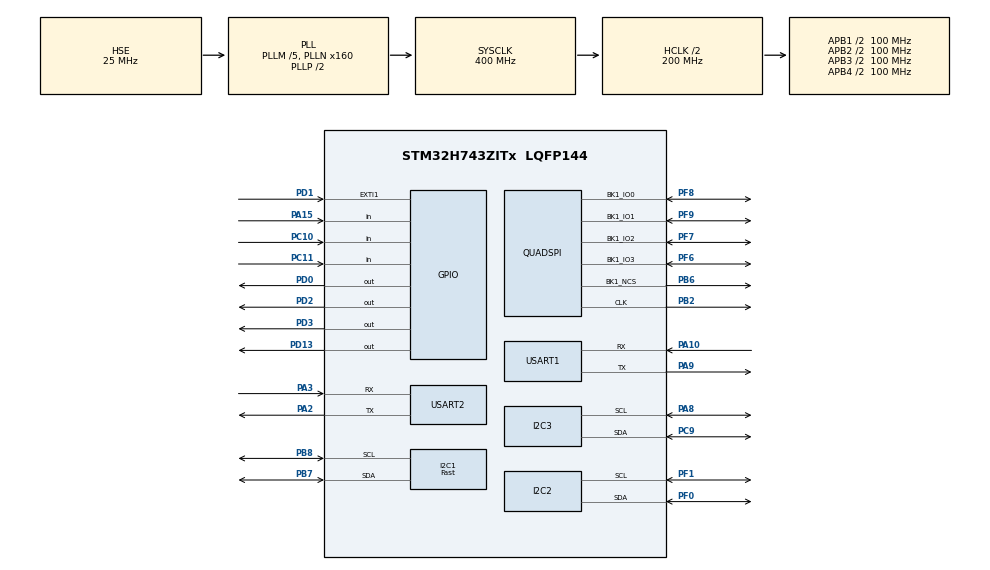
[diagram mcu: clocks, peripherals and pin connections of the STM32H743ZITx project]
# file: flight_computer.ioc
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CORTEX_M7.default_mode_Activation=1
I2C1.I2C_Fall_Time=100
I2C1.I2C_Rise_Time=300
I2C1.I2C_Speed_Mode=I2C_Fast
I2C1.Timing=0x30910D22
I2C2.Timing=0x10C0ECFF
I2C3.Timing=0x10C0ECFF
Mcu.Family=STM32H7
Mcu.Name=STM32H743ZITx
Mcu.Package=LQFP144
NVIC.PriorityGroup=NVIC_PRIORITYGROUP_4
NVIC.USART1_IRQn=true\:0\:0\:false\:false\:true\:true\:true\:true
PA10.Mode=Asynchronous
PA10.Signal=USART1_RX
PA11.Signal=FDCAN1_RX
PA12.Signal=FDCAN1_TX
PA13\ (JTMS/SWDIO).Mode=Serial_Wire
PA13\ (JTMS/SWDIO).Signal=DEBUG_JTMS-SWDIO
PA14\ (JTCK/SWCLK).Mode=Serial_Wire
PA14\ (JTCK/SWCLK).Signal=DEBUG_JTCK-SWCLK
PA15\ (JTDI).Signal=GPIO_Input
PA2.Mode=Asynchronous
PA2.Signal=USART2_TX
PA3.Mode=Asynchronous
PA3.Signal=USART2_RX
PA8.GPIO_Pu=GPIO_PULLUP
PA8.Mode=I2C
PA8.Signal=I2C3_SCL
PA9.Mode=Asynchronous
PA9.Signal=USART1_TX
PB2.GPIO_Speed=GPIO_SPEED_FREQ_HIGH
PB2.Mode=Single Bank 1
PB2.Signal=QUADSPI_CLK
PB6.GPIO_FM6=__NULL
PB6.GPIO_Speed=GPIO_SPEED_FREQ_HIGH
PB6.Mode=Single Bank 1
PB6.Signal=QUADSPI_BK1_NCS
PB7.Mode=I2C
PB7.Signal=I2C1_SDA
PB8.Mode=I2C
PB8.Signal=I2C1_SCL
PC10.Signal=GPIO_Input
PC11.Signal=GPIO_Input
PC14-OSC32_IN\ (OSC32_IN).Mode=LSE-External-Clock-Source
PC14-OSC32_IN\ (OSC32_IN).Signal=RCC_OSC32_IN
PC9.GPIO_Pu=GPIO_PULLUP
PC9.Mode=I2C
PC9.Signal=I2C3_SDA
PD0.Signal=GPIO_Output
PD1.Signal=GPXTI1
PD13.Signal=GPIO_Output
PD2.Signal=GPIO_Output
PD3.Signal=GPIO_Output
PF0.GPIO_Pu=GPIO_PULLUP
PF0.Mode=I2C
PF0.Signal=I2C2_SDA
PF1.GPIO_Pu=GPIO_PULLUP
PF1.Mode=I2C
PF1.Signal=I2C2_SCL
PF6.GPIO_Speed=GPIO_SPEED_FREQ_HIGH
PF6.Mode=Single Bank 1
PF6.Signal=QUADSPI_BK1_IO3
PF7.GPIO_Speed=GPIO_SPEED_FREQ_HIGH
PF7.Mode=Single Bank 1
PF7.Signal=QUADSPI_BK1_IO2
PF8.GPIO_Speed=GPIO_SPEED_FREQ_HIGH
PF8.Mode=Single Bank 1
PF8.Signal=QUADSPI_BK1_IO0
PF9.GPIO_Speed=GPIO_SPEED_FREQ_HIGH
PF9.Mode=Single Bank 1
PF9.Signal=QUADSPI_BK1_IO1
PH0-OSC_IN\ (PH0).Mode=HSE-External-Clock-Source
PH0-OSC_IN\ (PH0).Signal=RCC_OSC_IN
ProjectManager.HeapSize=0x200
ProjectManager.StackSize=0x400
ProjectManager.TargetToolchain=STM32CubeIDE
QUADSPI.ChipSelectHighTime=QSPI_CS_HIGH_TIME_2_CYCLE
QUADSPI.ClockPrescaler=19
QUADSPI.FifoThreshold=4
QUADSPI.FlashSize=23
QUADSPI.SampleShifting=QSPI_SAMPLE_SHIFTING_NONE
RCC.ADCFreq_Value=537500000
RCC.APB1Freq_Value=100000000
RCC.APB2Freq_Value=100000000
RCC.APB3Freq_Value=100000000
RCC.APB4Freq_Value=100000000
RCC.CortexFreq_Value=400000000
RCC.D1PPRE=RCC_APB3_DIV2
RCC.D2PPRE1=RCC_APB1_DIV2
RCC.D2PPRE2=RCC_APB2_DIV2
RCC.D3PPRE=RCC_APB4_DIV2
RCC.DIVM1=5
RCC.DIVM2=3
RCC.DIVM3=5
RCC.DIVN1=160
RCC.DIVQ1=4
RCC.DIVQ2=3
RCC.FDCANCLockSelection=RCC_FDCANCLKSOURCE_HSE
RCC.HCLKFreq_Value=200000000
RCC.HPRE=RCC_HCLK_DIV2
RCC.PLLFRACN=0
RCC.PLLSourceVirtual=RCC_PLLSOURCE_HSE
RCC.PWR_Regulator_Voltage_Scale=PWR_REGULATOR_VOLTAGE_SCALE1
RCC.RTCClockSelection=RCC_RTCCLKSOURCE_LSE
RCC.SYSCLKFreq_VALUE=400000000
RCC.SYSCLKSource=RCC_SYSCLKSOURCE_PLLCLK
RCC.USBFreq_Value=200000000
USART1.VirtualMode-Asynchronous=VM_ASYNC
USART2.VirtualMode-Asynchronous=VM_ASYNC
VP_MEMORYMAP_VS_MEMORYMAP.Mode=CurAppReg
VP_RTC_VS_RTC_Activate.Mode=RTC_Enabled
VP_RTC_VS_RTC_Calendar.Mode=RTC_Calendar
board=custom

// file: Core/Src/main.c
/* USER CODE BEGIN Header */
/**
  ******************************************************************************
  * @file           : main.c
  * @brief          : Main program body
  ******************************************************************************
  * @attention
  *
  * Copyright (c) 2026 STMicroelectronics.
  * All rights reserved.
  *
  * This software is licensed under terms that can be found in the LICENSE file
  * in the root directory of this software component.
  * If no LICENSE file comes with this software, it is provided AS-IS.
  *
  ******************************************************************************
  */
/* USER CODE END Header */
#include "main.h"

/* USER CODE BEGIN Includes */
#include "commands.h"
#include <stdio.h>
#include "imu.h"
#include "ms5611.h"
#include "mag.h"
#include "flash.h"
#include "logger.h"
#include "sensors.h"
#include "ground_calibration.h"
#include "flight_app.h"
#include <stdbool.h>
#include <math.h>
#include <string.h>

/* USER CODE END Includes */

I2C_HandleTypeDef hi2c1;
I2C_HandleTypeDef hi2c2;
I2C_HandleTypeDef hi2c3;

QSPI_HandleTypeDef hqspi;

RTC_HandleTypeDef hrtc;

UART_HandleTypeDef huart1;
UART_HandleTypeDef huart2;

/* USER CODE BEGIN PV */

#define COMMAND_BUFFER_SIZE 64U
#define RTC_INIT_MARKER  0xA5A55A5AU // Arbitrary value for a flag
#define RTC_FLIGHT_LOCK_MARKER 0x464C544CUL /* "FLTL" */

static uint8_t uart_rx_byte;
static char command_buffer[COMMAND_BUFFER_SIZE];
static volatile uint32_t command_index = 0U;
static volatile uint8_t command_ready = 0U;

#define IMU_POLL_INTERVAL_MS 10U
#define BAROMETER_POLL_INTERVAL_MS 2U
#define IMU_PAIR_MAX_SKEW_MS 25U
#define BAROMETER_LOG_MAX_AGE_MS 100U
#define SENSOR_REINIT_INTERVAL_MS 1000U
#define IMU_NO_DATA_TIMEOUT_MS 500U
#define BAROMETER_NO_DATA_TIMEOUT_MS 500U

static ImuSample_t latest_imu_sample;
static ImuSample_t pending_imu_pair;
static MS5611_Sample_t latest_baro_sample;
static float latest_altitude_agl_m = NAN;
static bool latest_imu_sample_valid = false;
static bool latest_baro_sample_valid = false;
static bool latest_altitude_valid = false;
static bool imu_available = false;
static bool barometer_available = false;
static uint8_t pending_imu_fresh_mask = 0U;
static uint32_t pending_accel_timestamp_ms = 0U;
static uint32_t pending_gyro_timestamp_ms = 0U;
static uint32_t last_imu_pair_timestamp_ms = 0U;
static bool have_last_imu_pair = false;
static uint32_t last_baro_sample_timestamp_ms = 0U;
static bool have_last_baro_sample = false;

static volatile uint8_t calibration_restart_requested = 0U;
static volatile uint8_t calibration_abort_requested = 0U;
static bool ground_mode_confirmed = false;

#define FLASH_ENABLE_SELF_TEST 0U

bool flash_available = false;
bool logger_available = false;

/* USER CODE END PV */

void SystemClock_Config(void);
static void MPU_Config(void);
static void MX_GPIO_Init(void);
static void MX_I2C1_Init(void);
static void MX_I2C2_Init(void);
static void MX_I2C3_Init(void);
static void MX_QUADSPI_Init(void);
static void MX_USART1_UART_Init(void);
static void MX_USART2_UART_Init(void);
static void MX_RTC_Init(void);

/* USER CODE BEGIN 0 */

// 				DEBUGGING FUNCTIONS
//---------------------------------------------------------

// Redirect printf to UART1
int __io_putchar(int ch)
{
  HAL_UART_Transmit(&huart1, (uint8_t *)&ch, 1, HAL_MAX_DELAY);
  return ch;
}

/* USER CODE END 0 */

int main(void)
{

  /* MPU Configuration--------------------------------------------------------*/
  MPU_Config();

  /* MCU Configuration--------------------------------------------------------*/

  /* Reset of all peripherals, Initializes the Flash interface and the Systick. */
  HAL_Init();

  /* USER CODE BEGIN Init */

  reset_cause_capture(); // Check RCC flags for reasons for reset

  /* USER CODE END Init */

  /* Configure the system clock */
  SystemClock_Config();

  /* Initialize all configured peripherals */
  MX_GPIO_Init();
  MX_I2C1_Init();
  MX_I2C2_Init();
  MX_I2C3_Init();
  MX_QUADSPI_Init();
  MX_USART1_UART_Init();
  MX_USART2_UART_Init();
  MX_RTC_Init();
  /* USER CODE BEGIN 2 */

  /*
   * Disable stdout buffering so printf output is sent to UART1 immediately.
   */
  setvbuf(stdout, NULL, _IONBF, 0);

  // Accelerometer + Gyroscope
  imu_available = (lsm6dso32x_init() == HAL_OK);
  sensor_health_set_initialized(SENSOR_ID_IMU, imu_available);

  if (!imu_available)
  {
    printf("[MAIN] IMU initialization failed.\r\n");
  }

  // Magnetometer
//  printf("\r\nInitializing magnetometer\r\n");
//  iis2mdctr_init();
//  printf("Returned from magnetometer initialization\r\n");

  // Barometer
  barometer_available = (MS5611_Init(&hi2c2) == HAL_OK);
  sensor_health_set_initialized(SENSOR_ID_BAROMETER, barometer_available);

  if (!barometer_available)
  {
    printf("[MAIN] Barometer initialization or PROM CRC check failed.\r\n");
  }

  /* Magnetometer is intentionally optional until its application path is enabled. */
  sensor_health_set_initialized(SENSOR_ID_MAGNETOMETER, false);

  // Flash
  flash_logger_init();

  uint32_t last_imu_poll_tick = HAL_GetTick();
  uint32_t last_baro_poll_tick = HAL_GetTick();
  uint32_t last_imu_activity_tick = last_imu_poll_tick;
  uint32_t last_baro_activity_tick = last_baro_poll_tick;
  uint32_t last_imu_reinit_attempt_tick = last_imu_poll_tick;
  uint32_t last_baro_reinit_attempt_tick = last_baro_poll_tick;

  /*
   * Ground confirmation is deliberately boot-local and single-use. Never
   * infer that the vehicle is still on the ground from state saved before a
   * reset; an in-flight reset must come up calibration-locked.
   */
  ground_mode_confirmed = false;
  printf("[CAL] Recalibration inhibited after reset.\r\n");
  printf("[CAL] When safely stationary on the ground, use 'ground_confirm'.\r\n");

  printf("\r\nMini Flight Computer Console\r\n");
  printf("Type 'help' for available commands.\r\n");
  printf("> ");

  HAL_UART_Receive_IT(&huart1, &uart_rx_byte, 1U);

  /* USER CODE END 2 */

  /* Infinite loop */
  /* USER CODE BEGIN WHILE */
  while (1)
  {
      uint32_t now_ms = HAL_GetTick();
      bool fresh_paired_imu = false;
      bool required_sensor_recovered = false;
      ImuSample_t imu_sample_for_log = {0};

      if (command_ready != 0U)
      {
          command_process(command_buffer);
          command_ready = 0U;
          printf("> ");
      }

      if (calibration_abort_requested != 0U)
      {
          calibration_abort_requested = 0U;
          ground_calibration_abort();
      }

      if (calibration_restart_requested != 0U)
      {
          calibration_restart_requested = 0U;

          if (!ground_mode_confirmed)
          {
              printf("[CAL] Restart rejected: ground mode is not confirmed.\r\n");
          }
          else if (logger_is_active())
          {
              printf("[CAL] Stop logging before restarting calibration.\r\n");
          }
          else if (!imu_available)
          {
              ground_calibration_fault(GROUND_CALIBRATION_FAILURE_IMU_ERROR);
          }
          else if (!barometer_available)
          {
              ground_calibration_fault(GROUND_CALIBRATION_FAILURE_BARO_ERROR);
          }
          else
          {
              latest_altitude_valid = false;
              latest_altitude_agl_m = NAN;
              ground_calibration_restart(now_ms);
              printf("[CAL] Ground calibration restarted. Keep vehicle still.\r\n");
          }
      }

      if (!imu_available &&
          ((now_ms - last_imu_reinit_attempt_tick) >=
           SENSOR_REINIT_INTERVAL_MS))
      {
          last_imu_reinit_attempt_tick = now_ms;

          if (lsm6dso32x_init() == HAL_OK)
          {
              imu_available = true;
              latest_imu_sample_valid = false;
              pending_imu_fresh_mask = 0U;
              pending_accel_timestamp_ms = 0U;
              pending_gyro_timestamp_ms = 0U;
              have_last_imu_pair = false;
              sensor_health_set_initialized(SENSOR_ID_IMU, true);
              last_imu_activity_tick = HAL_GetTick();
              last_imu_poll_tick = last_imu_activity_tick;
              required_sensor_recovered = true;
              printf("[MAIN] IMU reinitialized.\r\n");
          }
      }

      if (!barometer_available &&
          ((now_ms - last_baro_reinit_attempt_tick) >=
           SENSOR_REINIT_INTERVAL_MS))
      {
          last_baro_reinit_attempt_tick = now_ms;

          if (MS5611_Init(&hi2c2) == HAL_OK)
          {
              barometer_available = true;
              latest_baro_sample_valid = false;
              latest_altitude_valid = false;
              latest_altitude_agl_m = NAN;
              sensor_health_set_initialized(SENSOR_ID_BAROMETER, true);
              have_last_baro_sample = false;
              last_baro_activity_tick = HAL_GetTick();
              last_baro_poll_tick = last_baro_activity_tick;
              required_sensor_recovered = true;
              printf("[MAIN] Barometer reinitialized.\r\n");
          }
      }

      now_ms = HAL_GetTick();

      if (required_sensor_recovered &&
          imu_available &&
          barometer_available &&
          ground_mode_confirmed &&
          !logger_is_active() &&
          (ground_calibration_get_state() == GROUND_CALIBRATION_FAULT) &&
          ((ground_calibration_get_failure() ==
            GROUND_CALIBRATION_FAILURE_IMU_ERROR) ||
           (ground_calibration_get_failure() ==
            GROUND_CALIBRATION_FAILURE_BARO_ERROR)))
      {
          ground_calibration_restart(now_ms);
          printf("[CAL] Required sensors recovered; calibration restarted.\r\n");
      }

      ground_calibration_update(now_ms);

      if (imu_available &&
          ((now_ms - last_imu_poll_tick) >= IMU_POLL_INTERVAL_MS))
      {
          ImuSample_t sensor_sample;
          ImuSample_t sample;
          ImuPollStatus_t poll_status;

          /* Skip missed periods instead of issuing catch-up bursts. */
          last_imu_poll_tick = now_ms;
          poll_status = lsm6dso32x_poll(&sensor_sample);

          if (poll_status == IMU_POLL_NEW_DATA)
          {
              /* Calibration, health, commands, and logs all use body axes. */
              imu_transform_sensor_to_body(&sensor_sample, &sample);
              latest_imu_sample = sample;
              latest_imu_sample_valid = true;

              /*
               * Accel and gyro DRDY bits are not required to assert in the
               * same poll. The driver preserves the latest counterpart, so
               * publish only after both have advanced within one nominal
               * 52-Hz sample period.
               */
              pending_imu_pair = sample;

              if ((sample.fresh_mask & IMU_SAMPLE_ACCEL_FRESH) != 0U)
              {
                  pending_accel_timestamp_ms = sample.timestamp_ms;
                  pending_imu_fresh_mask |= IMU_SAMPLE_ACCEL_FRESH;
              }

              if ((sample.fresh_mask & IMU_SAMPLE_GYRO_FRESH) != 0U)
              {
                  pending_gyro_timestamp_ms = sample.timestamp_ms;
                  pending_imu_fresh_mask |= IMU_SAMPLE_GYRO_FRESH;
              }

              if ((pending_imu_fresh_mask &
                   (IMU_SAMPLE_ACCEL_FRESH | IMU_SAMPLE_GYRO_FRESH)) ==
                  (IMU_SAMPLE_ACCEL_FRESH | IMU_SAMPLE_GYRO_FRESH))
              {
                  int32_t signed_skew =
                      (int32_t)(pending_accel_timestamp_ms -
                                pending_gyro_timestamp_ms);
                  uint32_t pair_skew_ms = (signed_skew >= 0)
                                              ? (uint32_t)signed_skew
                                              : (pending_gyro_timestamp_ms -
                                                 pending_accel_timestamp_ms);

                  if (pair_skew_ms > IMU_PAIR_MAX_SKEW_MS)
                  {
                      GroundCalibrationState_t calibration_state =
                          ground_calibration_get_state();

                      sensor_health_record_failure(SENSOR_ID_IMU);

                      if (calibration_state ==
                          GROUND_CALIBRATION_CALIBRATING)
                      {
                          ground_calibration_process_imu(NULL);
                      }

                      /* Retain only the newer half for the next pairing. */
                      if (signed_skew > 0)
                      {
                          pending_imu_fresh_mask = IMU_SAMPLE_ACCEL_FRESH;
                          pending_gyro_timestamp_ms = 0U;
                      }
                      else
                      {
                          pending_imu_fresh_mask = IMU_SAMPLE_GYRO_FRESH;
                          pending_accel_timestamp_ms = 0U;
                      }
                  }
                  else
                  {
                      bool cadence_valid =
                          !have_last_imu_pair ||
                          ((pending_imu_pair.timestamp_ms -
                            last_imu_pair_timestamp_ms) <=
                           GROUND_CALIBRATION_MAX_IMU_GAP_MS);

                      pending_imu_pair.fresh_mask =
                          IMU_SAMPLE_ACCEL_FRESH | IMU_SAMPLE_GYRO_FRESH;
                      pending_imu_pair.timestamp_ms =
                          (signed_skew >= 0)
                              ? pending_accel_timestamp_ms
                              : pending_gyro_timestamp_ms;

                      if (cadence_valid)
                      {
                          sensor_health_record_success(
                              SENSOR_ID_IMU,
                              pending_imu_pair.timestamp_ms);
                          last_imu_activity_tick =
                              pending_imu_pair.timestamp_ms;
                      }
                      else
                      {
                          sensor_health_record_failure(SENSOR_ID_IMU);

                          if (ground_calibration_get_state() ==
                              GROUND_CALIBRATION_CALIBRATING)
                          {
                              ground_calibration_process_imu(NULL);
                          }
                      }

                      last_imu_pair_timestamp_ms =
                          pending_imu_pair.timestamp_ms;
                      have_last_imu_pair = true;
                      ground_calibration_process_imu(&pending_imu_pair);
                      imu_sample_for_log = pending_imu_pair;
                      fresh_paired_imu = true;
                      pending_imu_fresh_mask = 0U;
                      pending_accel_timestamp_ms = 0U;
                      pending_gyro_timestamp_ms = 0U;
                  }
              }
          }
          else if (poll_status == IMU_POLL_ERROR)
          {
              SensorHealth_t health;
              GroundCalibrationState_t calibration_state =
                  ground_calibration_get_state();

              sensor_health_record_failure(SENSOR_ID_IMU);
              pending_imu_fresh_mask = 0U;
              pending_accel_timestamp_ms = 0U;
              pending_gyro_timestamp_ms = 0U;
              health = sensor_health_get(SENSOR_ID_IMU);

              if (calibration_state == GROUND_CALIBRATION_CALIBRATING)
              {
                  /* A missing frame invalidates the contiguous sample window. */
                  ground_calibration_process_imu(NULL);
              }

              if (health.consecutive_failures >= 3U)
              {
                  imu_available = false;
                  latest_imu_sample_valid = false;
                  have_last_imu_pair = false;
                  sensor_health_set_initialized(SENSOR_ID_IMU, false);
                  last_imu_reinit_attempt_tick = HAL_GetTick();
                  printf("[MAIN] IMU offline; periodic reinitialization enabled.\r\n");

                  if ((calibration_state == GROUND_CALIBRATION_WARMUP) ||
                      (calibration_state == GROUND_CALIBRATION_CALIBRATING) ||
                      (ground_mode_confirmed &&
                       (calibration_state == GROUND_CALIBRATION_READY)))
                  {
                      ground_calibration_fault(
                          GROUND_CALIBRATION_FAILURE_IMU_ERROR);
                  }
              }
          }
      }

      if (barometer_available &&
          ((now_ms - last_baro_poll_tick) >= BAROMETER_POLL_INTERVAL_MS))
      {
          MS5611_Sample_t sample;
          MS5611_PollStatus_t poll_status;

          last_baro_poll_tick = now_ms;
          poll_status = MS5611_Poll(&hi2c2, &sample);

          if (poll_status == MS5611_POLL_NEW_DATA)
          {
              bool cadence_valid =
                  !have_last_baro_sample ||
                  ((sample.timestamp_ms - last_baro_sample_timestamp_ms) <=
                   GROUND_CALIBRATION_MAX_BARO_GAP_MS);

              latest_baro_sample = sample;
              latest_baro_sample_valid = true;

              if (cadence_valid)
              {
                  sensor_health_record_success(
                      SENSOR_ID_BAROMETER,
                      sample.timestamp_ms);
                  last_baro_activity_tick = sample.timestamp_ms;
              }
              else
              {
                  sensor_health_record_failure(SENSOR_ID_BAROMETER);
              }

              last_baro_sample_timestamp_ms = sample.timestamp_ms;
              have_last_baro_sample = true;
              ground_calibration_process_baro(&sample);

              latest_altitude_valid = ground_calibration_altitude_agl_m(
                  sample.pressure_pa,
                  &latest_altitude_agl_m);

              if (!latest_altitude_valid)
              {
                  latest_altitude_agl_m = NAN;
              }
          }
          else if (poll_status == MS5611_POLL_ERROR)
          {
              SensorHealth_t health;
              GroundCalibrationState_t calibration_state =
                  ground_calibration_get_state();

              sensor_health_record_failure(SENSOR_ID_BAROMETER);
              latest_baro_sample_valid = false;
              latest_altitude_valid = false;
              latest_altitude_agl_m = NAN;
              health = sensor_health_get(SENSOR_ID_BAROMETER);

              if (calibration_state == GROUND_CALIBRATION_CALIBRATING)
              {
                  ground_calibration_process_baro(NULL);
              }

              if (health.consecutive_failures >= 3U)
              {
                  barometer_available = false;
                  have_last_baro_sample = false;
                  sensor_health_set_initialized(SENSOR_ID_BAROMETER, false);
                  last_baro_reinit_attempt_tick = HAL_GetTick();
                  printf("[MAIN] Barometer offline; periodic reinitialization enabled.\r\n");

                  if ((calibration_state == GROUND_CALIBRATION_WARMUP) ||
                      (calibration_state == GROUND_CALIBRATION_CALIBRATING) ||
                      (ground_mode_confirmed &&
                       (calibration_state == GROUND_CALIBRATION_READY)))
                  {
                      ground_calibration_fault(
                          GROUND_CALIBRATION_FAILURE_BARO_ERROR);
                  }
              }
          }
      }

      if (imu_available &&
          ((HAL_GetTick() - last_imu_activity_tick) >
           IMU_NO_DATA_TIMEOUT_MS))
      {
          GroundCalibrationState_t calibration_state =
              ground_calibration_get_state();

          imu_available = false;
          latest_imu_sample_valid = false;
          pending_imu_fresh_mask = 0U;
          pending_accel_timestamp_ms = 0U;
          pending_gyro_timestamp_ms = 0U;
          have_last_imu_pair = false;
          sensor_health_set_initialized(SENSOR_ID_IMU, false);
          last_imu_reinit_attempt_tick = HAL_GetTick();
          printf("[MAIN] IMU data timeout; periodic reinitialization enabled.\r\n");

          if ((calibration_state == GROUND_CALIBRATION_WARMUP) ||
              (calibration_state == GROUND_CALIBRATION_CALIBRATING) ||
              (ground_mode_confirmed &&
               (calibration_state == GROUND_CALIBRATION_READY)))
          {
              ground_calibration_fault(GROUND_CALIBRATION_FAILURE_IMU_ERROR);
          }
      }

      if (barometer_available &&
          ((HAL_GetTick() - last_baro_activity_tick) >
           BAROMETER_NO_DATA_TIMEOUT_MS))
      {
          GroundCalibrationState_t calibration_state =
              ground_calibration_get_state();

          barometer_available = false;
          have_last_baro_sample = false;
          latest_baro_sample_valid = false;
          latest_altitude_valid = false;
          latest_altitude_agl_m = NAN;
          sensor_health_set_initialized(SENSOR_ID_BAROMETER, false);
          last_baro_reinit_attempt_tick = HAL_GetTick();
          printf("[MAIN] Barometer data timeout; periodic reinitialization enabled.\r\n");

          if ((calibration_state == GROUND_CALIBRATION_WARMUP) ||
              (calibration_state == GROUND_CALIBRATION_CALIBRATING) ||
              (ground_mode_confirmed &&
               (calibration_state == GROUND_CALIBRATION_READY)))
          {
              ground_calibration_fault(GROUND_CALIBRATION_FAILURE_BARO_ERROR);
          }
      }

      if (ground_mode_confirmed && ground_calibration_is_ready())
      {
          /* A confirmation authorizes one completed calibration only. */
          flight_lock_ground_calibration();
          printf("[CAL] Calibration READY; ground confirmation consumed.\r\n");
      }

      /* Calibration can complete on an IMU frame between barometer frames. */
      if (!latest_altitude_valid &&
          latest_baro_sample_valid &&
          ground_calibration_is_ready())
      {
          latest_altitude_valid = ground_calibration_altitude_agl_m(
              latest_baro_sample.pressure_pa,
              &latest_altitude_agl_m);
      }

      /* Do not carry an old pressure/AGL value into a newer IMU log frame. */
      if (latest_baro_sample_valid &&
          ((HAL_GetTick() - latest_baro_sample.timestamp_ms) >
           BAROMETER_LOG_MAX_AGE_MS))
      {
          latest_baro_sample_valid = false;
          latest_altitude_valid = false;
          latest_altitude_agl_m = NAN;
      }

      /* Check required sources before appending a record from this frame. */
      if (logger_is_active() &&
          (!imu_is_healthy() ||
           !barometer_is_healthy() ||
           !latest_baro_sample_valid ||
           !latest_altitude_valid))
      {
          printf("[MAIN] Required sensor data became invalid; logging stopped.\r\n");
          (void)logger_stop();
      }

      if (fresh_paired_imu && logger_available && logger_is_active())
      {
          FlightLogRecord_t record = {0};
          float corrected_gyro_dps[3];

          ground_calibration_correct_gyro(
              imu_sample_for_log.angular_rate_dps,
              corrected_gyro_dps);

          record.timestamp_ms = imu_sample_for_log.timestamp_ms;
          record.barometer_timestamp_ms = latest_baro_sample.timestamp_ms;
          record.validity_flags = FLIGHT_LOG_VALID_IMU |
                                  FLIGHT_LOG_VALID_BAROMETER |
                                  FLIGHT_LOG_VALID_ALTITUDE_AGL |
                                  FLIGHT_LOG_GYRO_BIAS_CORRECTED;
          record.acceleration_x = imu_sample_for_log.acceleration_mg[0];
          record.acceleration_y = imu_sample_for_log.acceleration_mg[1];
          record.acceleration_z = imu_sample_for_log.acceleration_mg[2];
          record.angular_rate_x = corrected_gyro_dps[0];
          record.angular_rate_y = corrected_gyro_dps[1];
          record.angular_rate_z = corrected_gyro_dps[2];

          record.pressure_pa = latest_baro_sample.pressure_pa;
          record.temperature_c = latest_baro_sample.temperature_c;
          record.altitude_m = latest_altitude_agl_m;

          if (logger_append(&record) != HAL_OK)
          {
              printf(
                  "[MAIN] Failed to store log record. "
                  "Logging will be stopped.\r\n"
              );

              (void)logger_stop();
          }
      }

    /* USER CODE END WHILE */

  }
}

void SystemClock_Config(void)
{
  RCC_OscInitTypeDef RCC_OscInitStruct = {0};
  RCC_ClkInitTypeDef RCC_ClkInitStruct = {0};

  /** Supply configuration update enable
  */
  HAL_PWREx_ConfigSupply(PWR_LDO_SUPPLY);

  /** Configure the main internal regulator output voltage
  */
  __HAL_PWR_VOLTAGESCALING_CONFIG(PWR_REGULATOR_VOLTAGE_SCALE1);

  while(!__HAL_PWR_GET_FLAG(PWR_FLAG_VOSRDY)) {}

  /** Initializes the RCC Oscillators according to the specified parameters
  * in the RCC_OscInitTypeDef structure.
  */
  RCC_OscInitStruct.OscillatorType = RCC_OSCILLATORTYPE_HSE|RCC_OSCILLATORTYPE_LSE;
  RCC_OscInitStruct.HSEState = RCC_HSE_BYPASS;
  RCC_OscInitStruct.LSEState = RCC_LSE_BYPASS;
  RCC_OscInitStruct.PLL.PLLState = RCC_PLL_ON;
  RCC_OscInitStruct.PLL.PLLSource = RCC_PLLSOURCE_HSE;
  RCC_OscInitStruct.PLL.PLLM = 5;
  RCC_OscInitStruct.PLL.PLLN = 160;
  RCC_OscInitStruct.PLL.PLLP = 2;
  RCC_OscInitStruct.PLL.PLLQ = 4;
  RCC_OscInitStruct.PLL.PLLR = 2;
  RCC_OscInitStruct.PLL.PLLRGE = RCC_PLL1VCIRANGE_2;
  RCC_OscInitStruct.PLL.PLLVCOSEL = RCC_PLL1VCOWIDE;
  RCC_OscInitStruct.PLL.PLLFRACN = 0;
  if (HAL_RCC_OscConfig(&RCC_OscInitStruct) != HAL_OK)
  {
    Error_Handler();
  }

  /** Initializes the CPU, AHB and APB buses clocks
  */
  RCC_ClkInitStruct.ClockType = RCC_CLOCKTYPE_HCLK|RCC_CLOCKTYPE_SYSCLK
                              |RCC_CLOCKTYPE_PCLK1|RCC_CLOCKTYPE_PCLK2
                              |RCC_CLOCKTYPE_D3PCLK1|RCC_CLOCKTYPE_D1PCLK1;
  RCC_ClkInitStruct.SYSCLKSource = RCC_SYSCLKSOURCE_PLLCLK;
  RCC_ClkInitStruct.SYSCLKDivider = RCC_SYSCLK_DIV1;
  RCC_ClkInitStruct.AHBCLKDivider = RCC_HCLK_DIV2;
  RCC_ClkInitStruct.APB3CLKDivider = RCC_APB3_DIV2;
  RCC_ClkInitStruct.APB1CLKDivider = RCC_APB1_DIV2;
  RCC_ClkInitStruct.APB2CLKDivider = RCC_APB2_DIV2;
  RCC_ClkInitStruct.APB4CLKDivider = RCC_APB4_DIV2;

  if (HAL_RCC_ClockConfig(&RCC_ClkInitStruct, FLASH_LATENCY_2) != HAL_OK)
  {
    Error_Handler();
  }
}

static void MX_I2C1_Init(void)
{

  hi2c1.Instance = I2C1;
  hi2c1.Init.Timing = 0x30910D22;
  hi2c1.Init.OwnAddress1 = 0;
  hi2c1.Init.AddressingMode = I2C_ADDRESSINGMODE_7BIT;
  hi2c1.Init.DualAddressMode = I2C_DUALADDRESS_DISABLE;
  hi2c1.Init.OwnAddress2 = 0;
  hi2c1.Init.OwnAddress2Masks = I2C_OA2_NOMASK;
  hi2c1.Init.GeneralCallMode = I2C_GENERALCALL_DISABLE;
  hi2c1.Init.NoStretchMode = I2C_NOSTRETCH_DISABLE;
  if (HAL_I2C_Init(&hi2c1) != HAL_OK)
  {
    Error_Handler();
  }

  /** Configure Analogue filter
  */
  if (HAL_I2CEx_ConfigAnalogFilter(&hi2c1, I2C_ANALOGFILTER_ENABLE) != HAL_OK)
  {
    Error_Handler();
  }

  /** Configure Digital filter
  */
  if (HAL_I2CEx_ConfigDigitalFilter(&hi2c1, 0) != HAL_OK)
  {
    Error_Handler();
  }

}

static void MX_I2C2_Init(void)
{

  hi2c2.Instance = I2C2;
  hi2c2.Init.Timing = 0x10C0ECFF;
  hi2c2.Init.OwnAddress1 = 0;
  hi2c2.Init.AddressingMode = I2C_ADDRESSINGMODE_7BIT;
  hi2c2.Init.DualAddressMode = I2C_DUALADDRESS_DISABLE;
  hi2c2.Init.OwnAddress2 = 0;
  hi2c2.Init.OwnAddress2Masks = I2C_OA2_NOMASK;
  hi2c2.Init.GeneralCallMode = I2C_GENERALCALL_DISABLE;
  hi2c2.Init.NoStretchMode = I2C_NOSTRETCH_DISABLE;
  if (HAL_I2C_Init(&hi2c2) != HAL_OK)
  {
    Error_Handler();
  }

  /** Configure Analogue filter
  */
  if (HAL_I2CEx_ConfigAnalogFilter(&hi2c2, I2C_ANALOGFILTER_ENABLE) != HAL_OK)
  {
    Error_Handler();
  }

  /** Configure Digital filter
  */
  if (HAL_I2CEx_ConfigDigitalFilter(&hi2c2, 0) != HAL_OK)
  {
    Error_Handler();
  }

}

static void MX_I2C3_Init(void)
{

  hi2c3.Instance = I2C3;
  hi2c3.Init.Timing = 0x10C0ECFF;
  hi2c3.Init.OwnAddress1 = 0;
  hi2c3.Init.AddressingMode = I2C_ADDRESSINGMODE_7BIT;
  hi2c3.Init.DualAddressMode = I2C_DUALADDRESS_DISABLE;
  hi2c3.Init.OwnAddress2 = 0;
  hi2c3.Init.OwnAddress2Masks = I2C_OA2_NOMASK;
  hi2c3.Init.GeneralCallMode = I2C_GENERALCALL_DISABLE;
  hi2c3.Init.NoStretchMode = I2C_NOSTRETCH_DISABLE;
  if (HAL_I2C_Init(&hi2c3) != HAL_OK)
  {
    Error_Handler();
  }

  /** Configure Analogue filter
  */
  if (HAL_I2CEx_ConfigAnalogFilter(&hi2c3, I2C_ANALOGFILTER_ENABLE) != HAL_OK)
  {
    Error_Handler();
  }

  /** Configure Digital filter
  */
  if (HAL_I2CEx_ConfigDigitalFilter(&hi2c3, 0) != HAL_OK)
  {
    Error_Handler();
  }

}

static void MX_QUADSPI_Init(void)
{

  /* QUADSPI parameter configuration*/
  hqspi.Instance = QUADSPI;
  hqspi.Init.ClockPrescaler = 19;
  hqspi.Init.FifoThreshold = 4;
  hqspi.Init.SampleShifting = QSPI_SAMPLE_SHIFTING_NONE;
  hqspi.Init.FlashSize = 23;
  hqspi.Init.ChipSelectHighTime = QSPI_CS_HIGH_TIME_2_CYCLE;
  hqspi.Init.ClockMode = QSPI_CLOCK_MODE_0;
  hqspi.Init.FlashID = QSPI_FLASH_ID_1;
  hqspi.Init.DualFlash = QSPI_DUALFLASH_DISABLE;
  if (HAL_QSPI_Init(&hqspi) != HAL_OK)
  {
    Error_Handler();
  }

}

static void MX_RTC_Init(void)
{

  RTC_TimeTypeDef sTime = {0};
  RTC_DateTypeDef sDate = {0};

  /** Initialize RTC Only
  */
  hrtc.Instance = RTC;
  hrtc.Init.HourFormat = RTC_HOURFORMAT_24;
  hrtc.Init.AsynchPrediv = 127;
  hrtc.Init.SynchPrediv = 255;
  hrtc.Init.OutPut = RTC_OUTPUT_DISABLE;
  hrtc.Init.OutPutPolarity = RTC_OUTPUT_POLARITY_HIGH;
  hrtc.Init.OutPutType = RTC_OUTPUT_TYPE_OPENDRAIN;
  hrtc.Init.OutPutRemap = RTC_OUTPUT_REMAP_NONE;
  if (HAL_RTC_Init(&hrtc) != HAL_OK)
  {
    Error_Handler();
  }

  /* USER CODE BEGIN Check_RTC_BKUP */

  // When the backup register found in HAL_RTCEx is equal to the macro, it means the date has been set
  if (HAL_RTCEx_BKUPRead(&hrtc, RTC_BKP_DR0) == RTC_INIT_MARKER)
  {
	  /*
	   * RTC was already initialized.
	   * Return before CubeMX resets the date and time.
	   */
	  return;
  }

  /* USER CODE END Check_RTC_BKUP */

  /** Initialize RTC and set the Time and Date
  */
  sTime.Hours = 0x0;
  sTime.Minutes = 0x0;
  sTime.Seconds = 0x0;
  sTime.DayLightSaving = RTC_DAYLIGHTSAVING_NONE;
  sTime.StoreOperation = RTC_STOREOPERATION_RESET;
  if (HAL_RTC_SetTime(&hrtc, &sTime, RTC_FORMAT_BCD) != HAL_OK)
  {
    Error_Handler();
  }
  sDate.WeekDay = RTC_WEEKDAY_MONDAY;
  sDate.Month = RTC_MONTH_JANUARY;
  sDate.Date = 0x1;
  sDate.Year = 0x0;

  if (HAL_RTC_SetDate(&hrtc, &sDate, RTC_FORMAT_BCD) != HAL_OK)
  {
    Error_Handler();
  }
  /* USER CODE BEGIN RTC_Init 2 */

  HAL_RTCEx_BKUPWrite(&hrtc, RTC_BKP_DR0, RTC_INIT_MARKER); // Writes marker into backup register

  /* USER CODE END RTC_Init 2 */

}

static void MX_USART1_UART_Init(void)
{

  huart1.Instance = USART1;
  huart1.Init.BaudRate = 115200;
  huart1.Init.WordLength = UART_WORDLENGTH_8B;
  huart1.Init.StopBits = UART_STOPBITS_1;
  huart1.Init.Parity = UART_PARITY_NONE;
  huart1.Init.Mode = UART_MODE_TX_RX;
  huart1.Init.HwFlowCtl = UART_HWCONTROL_NONE;
  huart1.Init.OverSampling = UART_OVERSAMPLING_16;
  huart1.Init.OneBitSampling = UART_ONE_BIT_SAMPLE_DISABLE;
  huart1.Init.ClockPrescaler = UART_PRESCALER_DIV1;
  huart1.AdvancedInit.AdvFeatureInit = UART_ADVFEATURE_NO_INIT;
  if (HAL_UART_Init(&huart1) != HAL_OK)
  {
    Error_Handler();
  }
  if (HAL_UARTEx_SetTxFifoThreshold(&huart1, UART_TXFIFO_THRESHOLD_1_8) != HAL_OK)
  {
    Error_Handler();
  }
  if (HAL_UARTEx_SetRxFifoThreshold(&huart1, UART_RXFIFO_THRESHOLD_1_8) != HAL_OK)
  {
    Error_Handler();
  }
  if (HAL_UARTEx_DisableFifoMode(&huart1) != HAL_OK)
  {
    Error_Handler();
  }

}

static void MX_USART2_UART_Init(void)
{

  huart2.Instance = USART2;
  huart2.Init.BaudRate = 115200;
  huart2.Init.WordLength = UART_WORDLENGTH_8B;
  huart2.Init.StopBits = UART_STOPBITS_1;
  huart2.Init.Parity = UART_PARITY_NONE;
  huart2.Init.Mode = UART_MODE_TX_RX;
  huart2.Init.HwFlowCtl = UART_HWCONTROL_NONE;
  huart2.Init.OverSampling = UART_OVERSAMPLING_16;
  huart2.Init.OneBitSampling = UART_ONE_BIT_SAMPLE_DISABLE;
  huart2.Init.ClockPrescaler = UART_PRESCALER_DIV1;
  huart2.AdvancedInit.AdvFeatureInit = UART_ADVFEATURE_NO_INIT;
  if (HAL_UART_Init(&huart2) != HAL_OK)
  {
    Error_Handler();
  }
  if (HAL_UARTEx_SetTxFifoThreshold(&huart2, UART_TXFIFO_THRESHOLD_1_8) != HAL_OK)
  {
    Error_Handler();
  }
  if (HAL_UARTEx_SetRxFifoThreshold(&huart2, UART_RXFIFO_THRESHOLD_1_8) != HAL_OK)
  {
    Error_Handler();
  }
  if (HAL_UARTEx_DisableFifoMode(&huart2) != HAL_OK)
  {
    Error_Handler();
  }

}

static void MX_GPIO_Init(void)
{
  GPIO_InitTypeDef GPIO_InitStruct = {0};

  /* GPIO Ports Clock Enable */
  __HAL_RCC_GPIOC_CLK_ENABLE();
  __HAL_RCC_GPIOF_CLK_ENABLE();
  __HAL_RCC_GPIOH_CLK_ENABLE();
  __HAL_RCC_GPIOA_CLK_ENABLE();
  __HAL_RCC_GPIOB_CLK_ENABLE();
  __HAL_RCC_GPIOD_CLK_ENABLE();

  /*Configure GPIO pin Output Level */
  HAL_GPIO_WritePin(GPIOD, GPIO_PIN_13|GPIO_PIN_0|GPIO_PIN_2|GPIO_PIN_3, GPIO_PIN_RESET);

  /*Configure GPIO pins : PD13 PD0 PD2 PD3 */
  GPIO_InitStruct.Pin = GPIO_PIN_13|GPIO_PIN_0|GPIO_PIN_2|GPIO_PIN_3;
  GPIO_InitStruct.Mode = GPIO_MODE_OUTPUT_PP;
  GPIO_InitStruct.Pull = GPIO_NOPULL;
  GPIO_InitStruct.Speed = GPIO_SPEED_FREQ_LOW;
  HAL_GPIO_Init(GPIOD, &GPIO_InitStruct);

  /*Configure GPIO pins : PA11 PA12 */
  GPIO_InitStruct.Pin = GPIO_PIN_11|GPIO_PIN_12;
  GPIO_InitStruct.Mode = GPIO_MODE_AF_PP;
  GPIO_InitStruct.Pull = GPIO_NOPULL;
  GPIO_InitStruct.Speed = GPIO_SPEED_FREQ_LOW;
  GPIO_InitStruct.Alternate = GPIO_AF9_FDCAN1;
  HAL_GPIO_Init(GPIOA, &GPIO_InitStruct);

  /*Configure GPIO pin : PA15 */
  GPIO_InitStruct.Pin = GPIO_PIN_15;
  GPIO_InitStruct.Mode = GPIO_MODE_INPUT;
  GPIO_InitStruct.Pull = GPIO_NOPULL;
  HAL_GPIO_Init(GPIOA, &GPIO_InitStruct);

  /*Configure GPIO pins : PC10 PC11 */
  GPIO_InitStruct.Pin = GPIO_PIN_10|GPIO_PIN_11;
  GPIO_InitStruct.Mode = GPIO_MODE_INPUT;
  GPIO_InitStruct.Pull = GPIO_NOPULL;
  HAL_GPIO_Init(GPIOC, &GPIO_InitStruct);

  /*Configure GPIO pin : PD1 */
  GPIO_InitStruct.Pin = GPIO_PIN_1;
  GPIO_InitStruct.Mode = GPIO_MODE_IT_RISING;
  GPIO_InitStruct.Pull = GPIO_NOPULL;
  HAL_GPIO_Init(GPIOD, &GPIO_InitStruct);

}

/* USER CODE BEGIN 4 */

bool flight_request_ground_calibration_restart(void)
{
    if (!ground_mode_confirmed)
    {
        return false;
    }

    calibration_restart_requested = 1U;
    return true;
}

void flight_request_ground_calibration_abort(void)
{
    calibration_abort_requested = 1U;
}

void flight_confirm_ground_mode(void)
{
    ground_mode_confirmed = true;
    calibration_restart_requested = 1U;
}

void flight_lock_ground_calibration(void)
{
    /*
     * The backup-domain latch survives MCU resets. Future arming paths must
     * call this boundary before enabling flight outputs, even if logging is
     * not used as the arming action.
    */
    HAL_RTCEx_BKUPWrite(&hrtc, RTC_BKP_DR1, RTC_FLIGHT_LOCK_MARKER);
    ground_mode_confirmed = false;

    if ((ground_calibration_get_state() == GROUND_CALIBRATION_WARMUP) ||
        (ground_calibration_get_state() == GROUND_CALIBRATION_CALIBRATING))
    {
        ground_calibration_abort();
    }
}

bool flight_is_ground_mode_confirmed(void)
{
    return ground_mode_confirmed;
}

bool flight_get_latest_imu_sample(ImuSample_t *sample)
{
    if ((sample == NULL) || !latest_imu_sample_valid)
    {
        return false;
    }

    *sample = latest_imu_sample;
    return true;
}

bool flight_get_latest_baro_sample(MS5611_Sample_t *sample)
{
    if ((sample == NULL) || !latest_baro_sample_valid)
    {
        return false;
    }

    *sample = latest_baro_sample;
    return true;
}

bool flight_get_latest_altitude_agl_m(float *altitude_m)
{
    if ((altitude_m == NULL) || !latest_altitude_valid)
    {
        return false;
    }

    *altitude_m = latest_altitude_agl_m;
    return true;
}

void HAL_UART_RxCpltCallback(UART_HandleTypeDef *huart)
{
    if (huart->Instance != USART1)
    {
        return;
    }

    /*
     * Enter may arrive as:
     * '\r'       carriage return
     * '\n'       line feed
     * "\r\n"     both
     */
    if ((uart_rx_byte == '\r') || (uart_rx_byte == '\n'))
    {
        if ((command_index > 0U) && (command_ready == 0U))
        {
            command_buffer[command_index] = '\0';
            command_ready = 1U;
            command_index = 0U;
        }
    }
    else if ((uart_rx_byte == '\b') || (uart_rx_byte == 0x7FU))
    {
        /* Handle Backspace and Delete. */
        if ((command_index > 0U) && (command_ready == 0U))
        {
            command_index--;
        }
    }
    else
    {
        if ((command_ready == 0U) &&
            (command_index < (COMMAND_BUFFER_SIZE - 1U)))
        {
            command_buffer[command_index] = (char)uart_rx_byte;
            command_index++;
        }
    }

    /*
     * Rearm reception so the next character can be received.
     */
    HAL_UART_Receive_IT(&huart1, &uart_rx_byte, 1U);
}

/* USER CODE END 4 */

 /* MPU Configuration */

void MPU_Config(void)
{
  MPU_Region_InitTypeDef MPU_InitStruct = {0};

  /* Disables the MPU */
  HAL_MPU_Disable();

  /** Initializes and configures the Region and the memory to be protected
  */
  MPU_InitStruct.Enable = MPU_REGION_ENABLE;
  MPU_InitStruct.Number = MPU_REGION_NUMBER0;
  MPU_InitStruct.BaseAddress = 0x0;
  MPU_InitStruct.Size = MPU_REGION_SIZE_4GB;
  MPU_InitStruct.SubRegionDisable = 0x87;
  MPU_InitStruct.TypeExtField = MPU_TEX_LEVEL0;
  MPU_InitStruct.AccessPermission = MPU_REGION_NO_ACCESS;
  MPU_InitStruct.DisableExec = MPU_INSTRUCTION_ACCESS_DISABLE;
  MPU_InitStruct.IsShareable = MPU_ACCESS_SHAREABLE;
  MPU_InitStruct.IsCacheable = MPU_ACCESS_NOT_CACHEABLE;
  MPU_InitStruct.IsBufferable = MPU_ACCESS_NOT_BUFFERABLE;

  HAL_MPU_ConfigRegion(&MPU_InitStruct);
  /* Enables the MPU */
  HAL_MPU_Enable(MPU_PRIVILEGED_DEFAULT);

}

void Error_Handler(void)
{
  __disable_irq();
  while (1)
  {
  }
}
